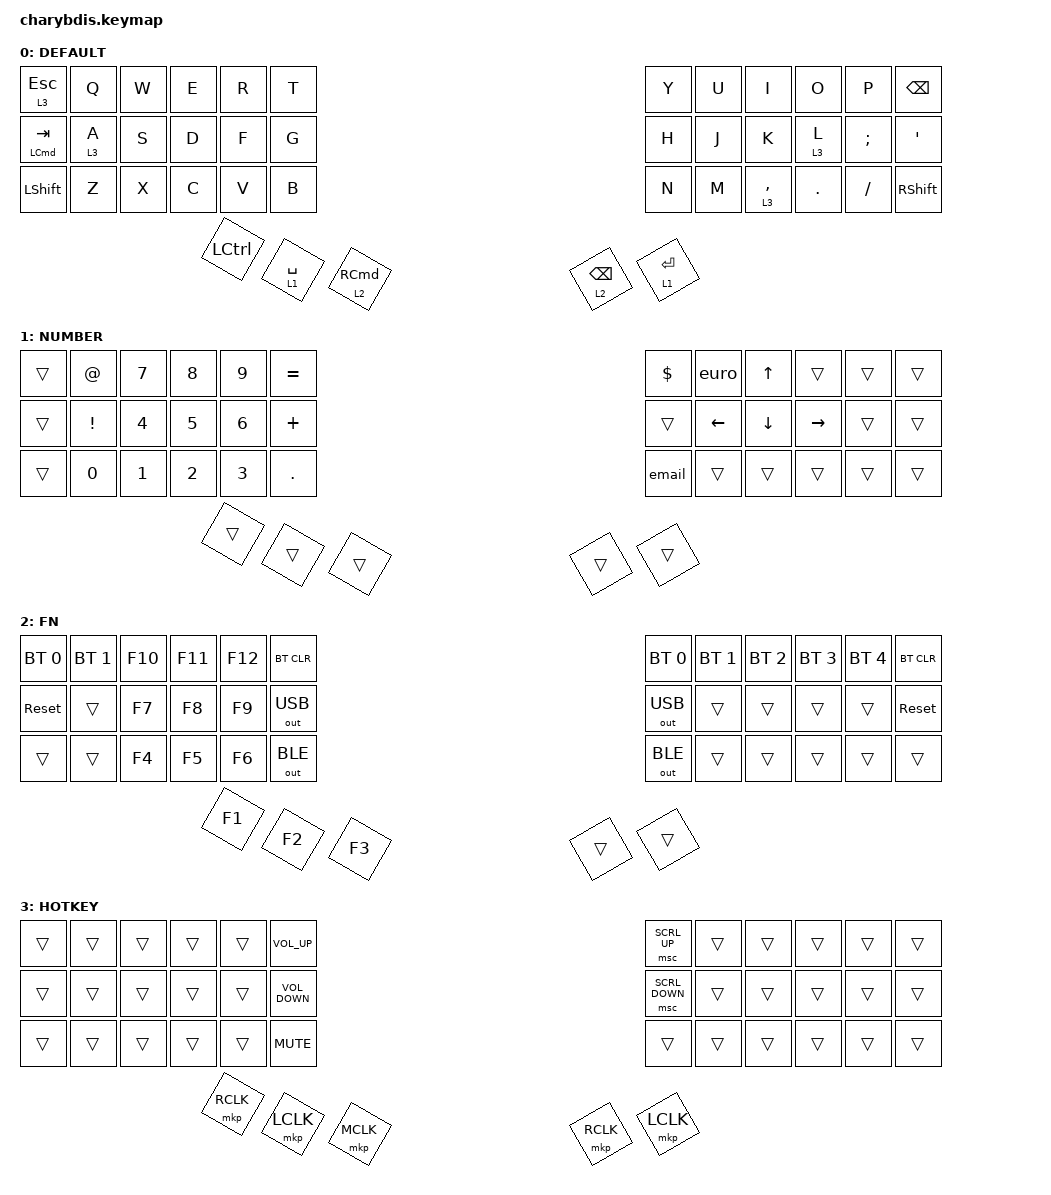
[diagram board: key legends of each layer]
/* upstream bindings and behaviors */
#include <behaviors.dtsi>
#include <dt-bindings/zmk/bt.h>
#include <dt-bindings/zmk/keys.h>
#include <dt-bindings/zmk/mouse.h>
#include <dt-bindings/zmk/outputs.h>
#include <behaviors/mouse_keys.dtsi>
#include <dt-bindings/zmk/ext_power.h>

#define DEFAULT 0
#define NUMBER  1
#define FN  2
#define HOTKEY  3

/ {
    behaviors {
 
        hm_right: homerow_mod_right {
            compatible = "zmk,behavior-hold-tap";
            #binding-cells = <2>;
            flavor = "tap-preferred";
            tapping-term-ms = <130>;

            // quick-tap-ms = <200>;
            // require-prior-idle-ms = <150>;

            bindings = <&kp>, <&kp>;

            hold-trigger-key-positions = <0 1 2 3 4 5 12 13 14 15 16 17 24 25 26 27 28 29 36 37 38>;
        };

        hm_left: homerow_mod_left {
            compatible = "zmk,behavior-hold-tap";
            #binding-cells = <2>;
            flavor = "tap-preferred";
            tapping-term-ms = <130>;

            // quick-tap-ms = <200>;
            // require-prior-idle-ms = <150>;

            bindings = <&kp>, <&kp>;

            hold-trigger-key-positions = <6 7 8 9 10 11 18 19 20 21 22 23 30 31 32 33 34 35 39 40>;
        };

    };

    combos {
        compatible = "zmk,combos";

        minus {
            timeout-ms = <50>;
            key-positions = <37 40>; // KP: VB
            bindings = <&kp MINUS>;
            layers = <1 2 2 3 0 4>;
        };

        parentR {
            timeout-ms = <50>;
            key-positions = <9 8>;
            bindings = <&kp RPAR>;
            layers = <0 1 4 3 2>;
        };

        lClick-l {
            bindings = <&mkp LCLK>;
            key-positions = <16 37>;
        };

        rClick-l {
            bindings = <&mkp RCLK>;
            key-positions = <15 16 37>;
        };

        parentL {
            bindings = <&kp LEFT_PARENTHESIS>;
            key-positions = <7 8>;
        };
    };

    macros {
        euro: euro {
            compatible = "zmk,behavior-macro";
            #binding-cells = <0>;
            bindings = <&kp LA(NUMBER_0) &kp LA(NUMBER_1) &kp LA(NUMBER_2) &kp LA(N8)>;
            label = "EURO";
        };

        email: email {
            compatible = "zmk,behavior-macro";
            #binding-cells = <0>;
            bindings = <&kp S &kp U &kp R &kp I &kp A &kp R &kp I &kp B &kp E &kp I &kp R &kp O &kp AT &kp G &kp M &kp A &kp I &kp L &kp DOT &kp C &kp O &kp M>;
            label = "EMAIL";
        };
    };

    keymap {
        compatible = "zmk,keymap";

        default_layer {
            label = "DEFAULT";
            bindings = <
&lt 3 ESC          &kp Q    &kp W                &kp E             &kp R         &kp T                  &kp Y            &kp U        &kp I              &kp O       &kp P          &kp BACKSPACE
&hm_left LCMD TAB  &lt 3 A  &kp S                &kp D             &kp F         &kp G                  &kp H            &kp J        &kp K              &lt 3 L     &kp SEMICOLON  &kp SQT
&kp LSHFT          &kp Z    &kp X                &kp C             &kp V         &kp B                  &kp N            &kp M        &lt 3 COMMA        &kp PERIOD  &kp SLASH      &kp RSHFT
                                                 &kp LCTRL         &lt 1 SPACE  &lt 2 RIGHT_COMMAND    &lt 2 BACKSPACE  &lt 1 ENTER
            >;
        };

        number_layer {
            label = "NUMBER";
            bindings = <
&trans  &kp AT           &kp N7  &kp N8  &kp N9  &kp EQUAL    &kp DOLLAR  &euro           &kp UP_ARROW    &trans           &trans  &trans
&trans  &kp EXCLAMATION  &kp N4  &kp N5  &kp N6  &kp PLUS     &trans      &kp LEFT_ARROW  &kp DOWN_ARROW  &kp RIGHT_ARROW  &trans  &trans
&trans  &kp N0           &kp N1  &kp N2  &kp N3  &kp DOT      &email      &trans          &trans          &trans           &trans  &trans
                                 &trans  &trans  &trans       &trans      &trans
            >;
        };

        fn_layer {
            label = "FN";
            bindings = <
&bt BT_SEL 0    &bt BT_SEL 1  &kp F10  &kp F11  &kp F12  &bt BT_CLR      &bt BT_SEL 0  &bt BT_SEL 1  &bt BT_SEL 2  &bt BT_SEL 3  &bt BT_SEL 4  &bt BT_CLR
&sys_reset      &trans        &kp F7   &kp F8   &kp F9   &out OUT_USB    &out OUT_USB  &trans        &trans        &trans        &trans        &sys_reset
&trans          &trans        &kp F4   &kp F5   &kp F6   &out OUT_BLE    &out OUT_BLE  &trans        &trans        &trans        &trans        &trans
                                       &kp F1   &kp F2   &kp F3          &trans        &trans
            >;
        };

        mouse {
            label = "HOTKEY";
            bindings = <
&trans  &trans  &trans  &trans     &trans     &kp C_VOLUME_UP      &msc SCRL_UP    &trans     &trans  &trans  &trans  &trans
&trans  &trans  &trans  &trans     &trans     &kp C_VOLUME_DOWN    &msc SCRL_DOWN  &trans     &trans  &trans  &trans  &trans
&trans  &trans  &trans  &trans     &trans     &kp C_MUTE           &trans          &trans     &trans  &trans  &trans  &trans
                        &mkp RCLK  &mkp LCLK  &mkp MCLK            &mkp RCLK       &mkp LCLK
            >;
        };
    };
};
